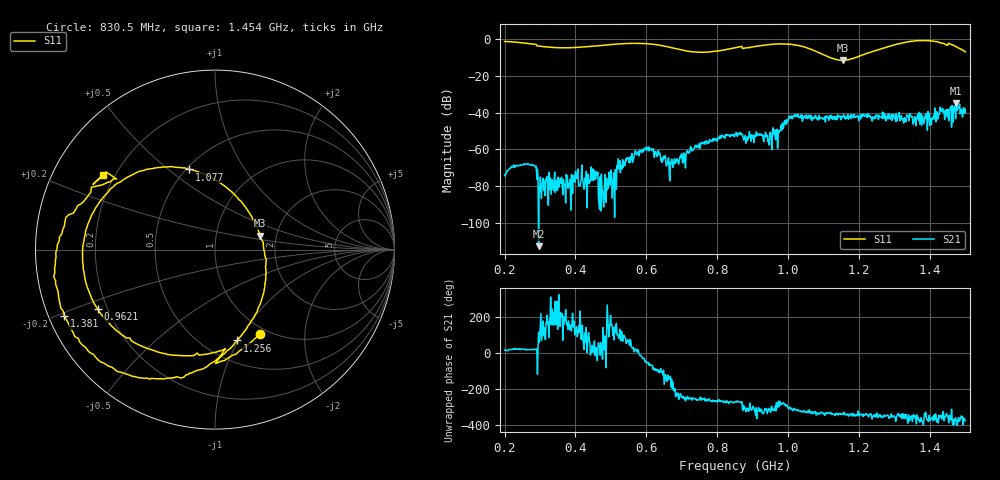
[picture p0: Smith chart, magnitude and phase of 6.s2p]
! NanoVNA-App
! Date: 2024-06-25 16:49:56
! Start: 200MHz Stop: 1.5GHz Points: 801
! S-Parameter data: F S11 S21 S12 S22
# Hz S RI R 50
!  Frequency  S11_Real  S11_Imag  S21_Real  S21_Imag  S12_Real  S12_Imag  S22_Real  S22_Imag
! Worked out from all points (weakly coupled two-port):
!   801 points, 200 MHz to 1.5 GHz, reference 50 ohm
!   highest |S21| = -34.89 dB at 1.474 GHz (marker M1); lowest = -112.7 dB at 295.9 MHz (marker M2)
!   lowest |S11| = -11.6 dB at 1.155 GHz (marker M3), VSWR 1.71, Z = 82.1 + j13.7 ohm
!   |S11| at or under -10 dB: 1.118 GHz to 1.191 GHz (73.52 MHz wide, 6.37 % of centre)
!   S12 and S22 are empty: the file has one direction only
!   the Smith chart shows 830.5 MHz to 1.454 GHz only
!   S11 on the Smith chart (normalised r, x): 830.5 MHz: 0.91, -1.20; 962.1 MHz: 0.16, -0.23; 1.077 GHz: 0.52, +0.59; 1.256 GHz: 0.71, -0.99; 1.381 GHz: 0.05, -0.21; 1.454 GHz: 0.16, +0.30
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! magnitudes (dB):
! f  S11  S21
! 200 MHz  -1.3  -74.0
! 268.2 MHz  -2.5  -68.2
! 295.9 MHz  -3.8  -112.7
! 417.8 MHz  -4.3  -68.6
! 455.1 MHz  -3.8  -72.6
! 486 MHz  -3.2  -88.8
! 570.5 MHz  -2.3  -61.5
! 633.9 MHz  -3.2  -60.5
! 671.2 MHz  -4.7  -65.3
! 830.5 MHz  -5.5  -52.6
! 850 MHz  -4.7  -51.8
! 962.1 MHz  -2.7  -49.4
! 1.009 GHz  -2.9  -41.7
! 1.068 GHz  -5.8  -44.3
! 1.077 GHz  -6.6  -41.5
! 1.155 GHz  -11.6  -41.8
! 1.256 GHz  -5.7  -41.4
! 1.284 GHz  -4.0  -43.4
! 1.381 GHz  -0.8  -44.6
! 1.454 GHz  -2.5  -38.7
! 1.474 GHz  -4.2  -34.9
! 1.5 GHz  -7.0  -39.8
